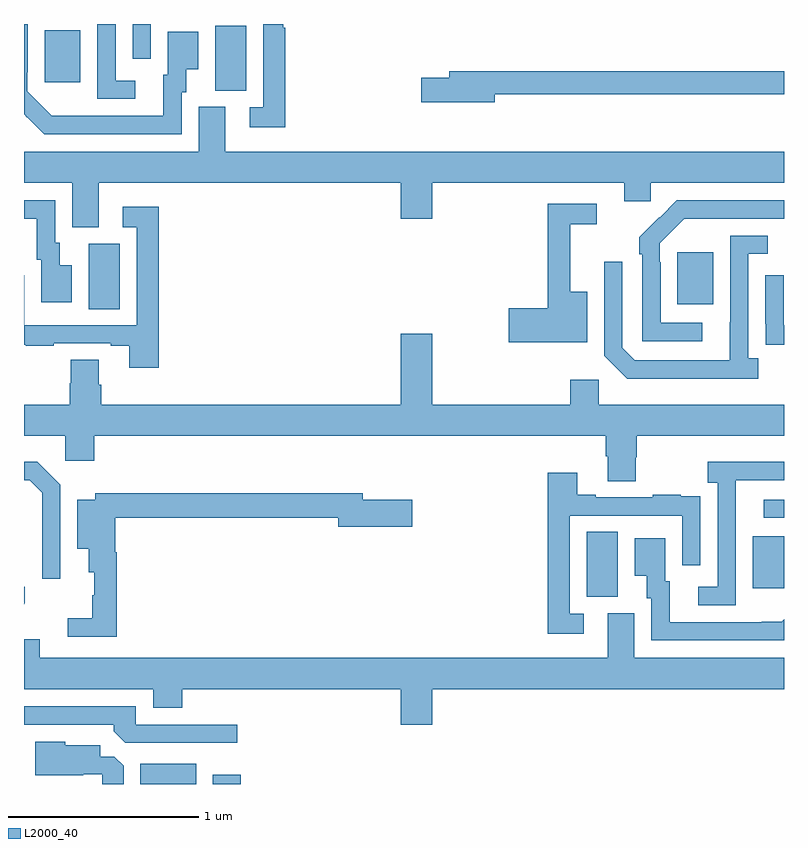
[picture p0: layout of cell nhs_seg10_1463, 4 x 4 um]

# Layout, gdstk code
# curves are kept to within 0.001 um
import gdstk
lib = gdstk.Library(unit=1e-6, precision=1e-09)
def R(c, l, rs):  # rectangles x0, y0, x1, y1
    for r in rs: c.add(gdstk.rectangle(r[:2], r[2:], *l))
def P(c, l, *ps):  # polygons
    for p in ps: c.add(gdstk.Polygon(p, *l))
L2000_40 = (2000, 40)

nhs_seg10_1463 = lib.new_cell('nhs_seg10_1463')
R(nhs_seg10_1463, L2000_40, [(187.613,1282.5,187.906,1282.606), (187.994,1282.5,188.141,1282.549), (189.962,1283.485,190.126,1283.828), (190.835,1283.529,191,1283.803), (190.893,1283.901,191,1283.997), (187.34,1285,187.504,1285.344), (190.439,1285.025,190.627,1285.3), (188.006,1286.149,188.17,1286.492), (187.109,1286.193,187.297,1286.467), (187.572,1286.316,187.668,1286.5)])
P(nhs_seg10_1463, L2000_40, [(187.585,1286.202),(187.482,1286.202),(187.482,1286.5),(187.386,1286.5),(187.386,1286.106),(187.585,1286.106)],
  [(188.375,1286.48),(188.364,1286.48),(188.364,1286.5),(188.259,1286.5),(188.259,1286.061),(188.187,1286.061),(188.187,1285.956),(188.375,1285.956)],
  [(187.83,1286.142),(187.855,1286.142),(187.855,1286.261),(187.918,1286.261),(187.918,1286.458),(187.757,1286.458),(187.757,1286.232),(187.733,1286.232),(187.733,1286.016),(187.146,1286.017),(187.017,1286.145),(187.017,1286.245),(187.02,1286.245),(187.02,1286.5),(187,1286.5),(187,1286.024),(187.014,1286.01),(187.015,1286.011),(187.106,1285.92),(187.83,1285.92)],
  [(189.478,1286.13),(191,1286.13),(191,1286.251),(189.239,1286.251),(189.239,1286.217),(189.09,1286.217),(189.09,1286.087),(189.478,1286.087)],
  [(187.393,1285.664),(188.984,1285.664),(188.984,1285.476),(189.148,1285.476),(189.148,1285.664),(190.16,1285.664),(190.16,1285.566),(190.299,1285.566),(190.299,1285.664),(191,1285.664),(191,1285.828),(188.059,1285.828),(188.059,1286.064),(187.919,1286.064),(187.919,1285.828),(187,1285.828),(187,1285.664),(187.253,1285.664),(187.253,1285.429),(187.393,1285.429)],
  [(187.252,1285.231),(187.189,1285.231),(187.189,1285.35),(187.164,1285.35),(187.164,1285.572),(187,1285.572),(187,1285.476),(187.067,1285.476),(187.067,1285.26),(187.091,1285.26),(187.091,1285.035),(187.252,1285.035)],
  [(190.57,1284.927),(190.35,1284.927),(190.35,1285.247),(190.347,1285.247),(190.347,1285.347),(190.476,1285.476),(191,1285.476),(191,1285.572),(190.436,1285.572),(190.239,1285.377),(190.239,1285.289),(190.254,1285.289),(190.254,1284.831),(190.57,1284.831)],
  [(189.964,1285.09),(189.875,1285.09),(189.875,1285.446),(190.015,1285.446),(190.015,1285.554),(189.757,1285.554),(189.757,1285.004),(189.552,1285.004),(189.552,1284.826),(189.964,1284.826)],
  [(187.709,1285.537),(187.521,1285.537),(187.521,1285.431),(187.593,1285.431),(187.593,1284.915),(187.002,1284.915),(187.002,1285.177),(187,1285.177),(187,1284.813),(187.009,1284.813),(187.009,1284.807),(187.157,1284.807),(187.157,1284.819),(187.457,1284.819),(187.457,1284.807),(187.553,1284.807),(187.553,1284.69),(187.709,1284.69)],
  [(190.864,1284.742),(190.812,1284.742),(190.812,1285.29),(190.915,1285.29),(190.915,1285.386),(190.716,1285.386),(190.715,1284.729),(190.215,1284.729),(190.149,1284.795),(190.149,1285.249),(190.053,1285.249),(190.053,1284.753),(190.174,1284.632),(190.864,1284.632)],
  [(191,1284.915),(190.998,1284.915),(190.998,1285.177),(190.902,1285.177),(190.902,1284.922),(190.903,1284.922),(190.903,1284.813),(191,1284.813)],
  [(190.221,1284.219),(190.226,1284.219),(190.226,1284.332),(191,1284.332),(191,1284.496),(190.026,1284.496),(190.026,1284.628),(189.875,1284.628),(189.875,1284.496),(189.148,1284.496),(189.148,1284.871),(188.984,1284.871),(188.984,1284.496),(187.406,1284.496),(187.406,1284.602),(187.393,1284.602),(187.393,1284.734),(187.246,1284.734),(187.246,1284.609),(187.241,1284.609),(187.241,1284.496),(187,1284.496),(187,1284.332),(187.218,1284.332),(187.218,1284.201),(187.37,1284.201),(187.37,1284.332),(190.061,1284.332),(190.061,1284.226),(190.073,1284.226),(190.073,1284.094),(190.221,1284.094)],
  [(190.746,1283.899),(190.747,1283.899),(190.747,1284.099),(191,1284.099),(191,1284.196),(190.599,1284.196),(190.599,1284.086),(190.65,1284.086),(190.65,1283.538),(190.548,1283.538),(190.548,1283.442),(190.746,1283.442)],
  [(187.191,1284.075),(187.07,1284.196),(187,1284.196),(187,1284.099),(187.029,1284.099),(187.095,1284.033),(187.095,1283.58),(187.191,1283.58)],
  [(189.946,1283.397),(189.873,1283.397),(189.873,1283.913),(190.464,1283.913),(190.464,1283.652),(190.56,1283.652),(190.56,1283.906),(190.559,1283.906),(190.559,1284.015),(190.457,1284.015),(190.457,1284.022),(190.309,1284.022),(190.309,1284.009),(190.009,1284.009),(190.009,1284.022),(189.913,1284.022),(189.913,1284.139),(189.757,1284.139),(189.757,1283.292),(189.946,1283.292)],
  [(187.487,1283.719),(187.481,1283.719),(187.481,1283.902),(188.654,1283.902),(188.654,1283.855),(189.043,1283.855),(189.043,1283.997),(188.782,1283.997),(188.782,1284.031),(187.374,1284.031),(187.374,1283.995),(187.28,1283.995),(187.28,1283.738),(187.34,1283.738),(187.34,1283.615),(187.37,1283.615),(187.37,1283.493),(187.359,1283.493),(187.359,1283.373),(187.23,1283.373),(187.23,1283.274),(187.487,1283.274)],
  [(191,1283.366),(190.987,1283.353),(190.399,1283.352),(190.399,1283.568),(190.375,1283.568),(190.375,1283.794),(190.214,1283.794),(190.214,1283.597),(190.277,1283.597),(190.277,1283.478),(190.302,1283.478),(190.302,1283.256),(191,1283.256)],
  [(187.005,1283.451),(187.005,1283.539),(187,1283.539),(187,1283.446)],
  [(189.148,1283),(191,1283),(191,1283.164),(190.213,1283.164),(190.213,1283.4),(190.073,1283.4),(190.073,1283.164),(187.084,1283.164),(187.084,1283.262),(187,1283.262),(187,1283),(187.679,1283),(187.679,1282.901),(187.832,1282.901),(187.832,1283),(188.984,1283),(188.984,1282.812),(189.148,1282.812)],
  [(188.122,1282.812),(187.587,1282.812),(187.587,1282.908),(187,1282.908),(187,1282.812),(187.472,1282.812),(187.472,1282.778),(187.533,1282.716),(188.122,1282.716)],
  [(187.525,1282.595),(187.476,1282.644),(187.402,1282.644),(187.402,1282.705),(187.218,1282.705),(187.218,1282.723),(187.058,1282.723),(187.058,1282.547),(187.313,1282.547),(187.313,1282.551),(187.413,1282.551),(187.413,1282.5),(187.525,1282.5)])

lib.write_gds('nhs_seg10_1463.gds')
